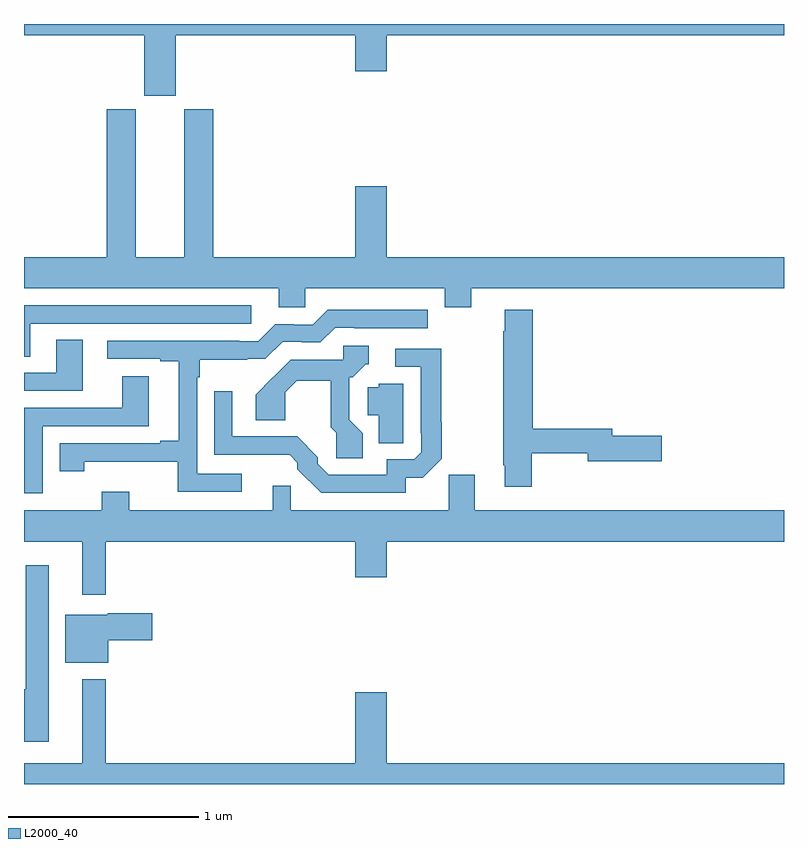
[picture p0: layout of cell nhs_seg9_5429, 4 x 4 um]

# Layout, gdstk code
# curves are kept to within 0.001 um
import gdstk
lib = gdstk.Library(unit=1e-6, precision=1e-09)
def P(c, l, *ps):  # polygons
    for p in ps: c.add(gdstk.Polygon(p, *l))
L2000_40 = (2000, 40)

nhs_seg9_5429 = lib.new_cell('nhs_seg9_5429')
P(nhs_seg9_5429, L2000_40, [(427.798,1176.44),(428.744,1176.44),(428.744,1176.252),(428.908,1176.252),(428.908,1176.44),(431,1176.44),(431,1176.5),(427,1176.5),(427,1176.44),(427.634,1176.44),(427.634,1176.123),(427.798,1176.123)],
  [(429.355,1175.108),(431,1175.108),(431,1175.272),(428.908,1175.272),(428.908,1175.647),(428.744,1175.647),(428.744,1175.272),(427.997,1175.272),(427.997,1176.051),(427.844,1176.051),(427.844,1175.272),(427.588,1175.272),(427.588,1176.051),(427.436,1176.051),(427.436,1175.272),(427,1175.272),(427,1175.108),(428.342,1175.108),(428.342,1175.01),(428.481,1175.01),(428.481,1175.108),(429.215,1175.108),(429.215,1175.009),(429.355,1175.009)],
  [(427.033,1174.923),(428.197,1174.923),(428.197,1175.019),(427,1175.019),(427,1174.75),(427.033,1174.75)],
  [(429.672,1174.242),(429.968,1174.242),(429.968,1174.199),(430.357,1174.199),(430.357,1174.334),(430.096,1174.334),(430.096,1174.37),(429.677,1174.37),(429.677,1174.996),(429.53,1174.996),(429.53,1174.883),(429.523,1174.883),(429.523,1174.177),(429.53,1174.177),(429.53,1174.065),(429.672,1174.065)],
  [(428.146,1174.134),(427.911,1174.134),(427.911,1174.64),(427.924,1174.64),(427.924,1174.734),(428.174,1174.734),(428.174,1174.737),(428.271,1174.737),(428.361,1174.827),(428.462,1174.827),(428.462,1174.824),(428.559,1174.824),(428.637,1174.902),(428.737,1174.902),(428.737,1174.899),(429.124,1174.899),(429.124,1174.995),(428.599,1174.996),(428.52,1174.917),(428.42,1174.917),(428.42,1174.92),(428.322,1174.92),(428.232,1174.83),(428.132,1174.83),(428.132,1174.833),(427.437,1174.833),(427.437,1174.737),(427.718,1174.737),(427.718,1174.725),(427.814,1174.725),(427.814,1174.306),(427.718,1174.306),(427.718,1174.293),(427.188,1174.293),(427.188,1174.146),(427.316,1174.146),(427.316,1174.196),(427.81,1174.196),(427.81,1174.038),(428.146,1174.038)],
  [(427.309,1174.838),(427.169,1174.838),(427.169,1174.665),(427,1174.665),(427,1174.569),(427.309,1174.569)],
  [(428.782,1174.346),(428.712,1174.416),(428.712,1174.641),(428.73,1174.641),(428.799,1174.71),(428.815,1174.71),(428.815,1174.806),(428.679,1174.806),(428.679,1174.734),(428.405,1174.734),(428.308,1174.637),(428.307,1174.638),(428.22,1174.55),(428.22,1174.414),(428.374,1174.414),(428.374,1174.562),(428.435,1174.623),(428.614,1174.623),(428.614,1174.378),(428.643,1174.349),(428.643,1174.215),(428.782,1174.215)],
  [(429.009,1174.113),(429.098,1174.113),(429.198,1174.212),(429.198,1174.403),(429.196,1174.403),(429.196,1174.791),(428.955,1174.791),(428.955,1174.695),(429.087,1174.695),(429.087,1174.345),(429.09,1174.345),(429.09,1174.245),(429.054,1174.209),(428.91,1174.209),(428.91,1174.128),(428.604,1174.128),(428.547,1174.185),(428.547,1174.219),(428.437,1174.329),(428.097,1174.329),(428.097,1174.567),(428.001,1174.567),(428.001,1174.233),(428.398,1174.232),(428.439,1174.192),(428.439,1174.157),(428.564,1174.032),(429.009,1174.032)],
  [(427.098,1174.383),(427.657,1174.383),(427.657,1174.645),(427.517,1174.645),(427.517,1174.479),(427.002,1174.479),(427.002,1174.125),(427,1174.125),(427,1174.029),(427.098,1174.029)],
  [(428.997,1174.606),(428.868,1174.606),(428.868,1174.587),(428.808,1174.587),(428.808,1174.442),(428.867,1174.442),(428.867,1174.294),(428.997,1174.294)],
  [(427.429,1173.776),(428.744,1173.776),(428.744,1173.588),(428.908,1173.588),(428.908,1173.776),(431,1173.776),(431,1173.94),(429.373,1173.94),(429.373,1174.128),(429.235,1174.128),(429.235,1173.94),(428.405,1173.94),(428.405,1174.07),(428.309,1174.07),(428.309,1173.94),(427.555,1173.94),(427.555,1174.039),(427.408,1174.039),(427.408,1173.94),(427,1173.94),(427,1173.776),(427.307,1173.776),(427.307,1173.495),(427.429,1173.495)],
  [(427.129,1173.652),(427.008,1173.652),(427.008,1172.999),(427,1172.999),(427,1172.723),(427.129,1172.723)],
  [(427.444,1173.257),(427.675,1173.257),(427.675,1173.399),(427.44,1173.399),(427.44,1173.391),(427.217,1173.391),(427.217,1173.137),(427.444,1173.137)],
  [(427.307,1173.052),(427.307,1172.608),(427,1172.608),(427,1172.5),(431,1172.5),(431,1172.608),(428.908,1172.608),(428.908,1172.983),(428.744,1172.983),(428.744,1172.608),(427.429,1172.608),(427.429,1173.052)])

lib.write_gds('nhs_seg9_5429.gds')
